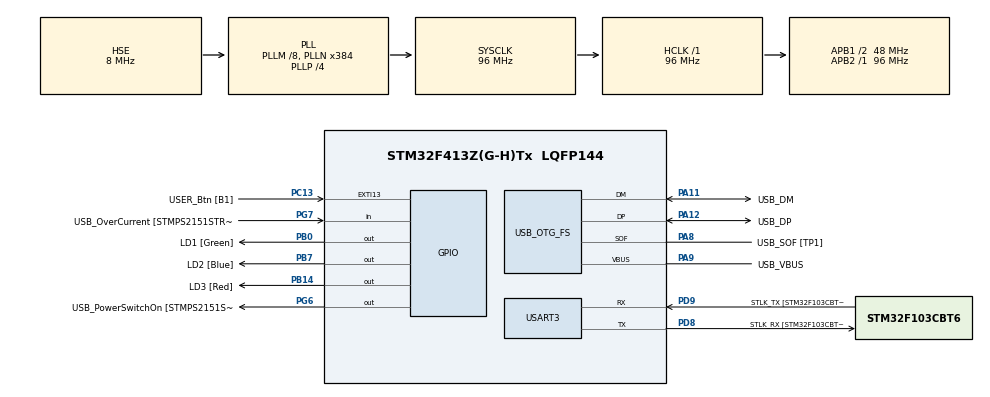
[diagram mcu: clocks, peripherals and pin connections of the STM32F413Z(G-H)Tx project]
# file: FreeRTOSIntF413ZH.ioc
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Mcu.Family=STM32F4
Mcu.Name=STM32F413Z(G-H)Tx
Mcu.Package=LQFP144
NVIC.PriorityGroup=NVIC_PRIORITYGROUP_4
NVIC.TIM6_DAC_IRQn=true\:15\:0\:false\:false\:true\:false\:true\:true
NVIC.TimeBase=TIM6_DAC_IRQn
NVIC.TimeBaseIP=TIM6
PA10.GPIO_Label=USB_ID
PA10.Signal=USB_OTG_FS_ID
PA11.GPIO_Label=USB_DM
PA11.Mode=Device_Only
PA11.Signal=USB_OTG_FS_DM
PA12.GPIO_Label=USB_DP
PA12.Mode=Device_Only
PA12.Signal=USB_OTG_FS_DP
PA13.GPIO_Label=TMS
PA13.Mode=Trace_Asynchronous_SW
PA13.Signal=SYS_JTMS-SWDIO
PA14.GPIO_Label=TCK
PA14.Mode=Trace_Asynchronous_SW
PA14.Signal=SYS_JTCK-SWCLK
PA8.GPIO_Label=USB_SOF [TP1]
PA8.Mode=Activate_SOF_FS
PA8.Signal=USB_OTG_FS_SOF
PA9.GPIO_Label=USB_VBUS
PA9.Mode=Activate_VBUS
PA9.Signal=USB_OTG_FS_VBUS
PB0.GPIO_Label=LD1 [Green]
PB0.Signal=GPIO_Output
PB14.GPIO_Label=LD3 [Red]
PB14.Signal=GPIO_Output
PB3.GPIO_Label=SWO
PB3.Mode=Trace_Asynchronous_SW
PB3.Signal=SYS_JTDO-SWO
PB7.GPIO_Label=LD2 [Blue]
PB7.Signal=GPIO_Output
PC13.GPIO_Label=USER_Btn [B1]
PC13.Signal=GPXTI13
PC14-OSC32_IN.Mode=LSE-External-Oscillator
PC14-OSC32_IN.Signal=RCC_OSC32_IN
PC15-OSC32_OUT.Mode=LSE-External-Oscillator
PC15-OSC32_OUT.Signal=RCC_OSC32_OUT
PD8.GPIO_Label=STLK_RX [STM32F103CBT6_PA3]
PD8.Mode=Asynchronous
PD8.Signal=USART3_TX
PD9.GPIO_Label=STLK_TX [STM32F103CBT6_PA2]
PD9.Mode=Asynchronous
PD9.Signal=USART3_RX
PG6.GPIO_Label=USB_PowerSwitchOn [STMPS2151STR_EN]
PG6.Signal=GPIO_Output
PG7.GPIO_Label=USB_OverCurrent [STMPS2151STR_FAULT]
PG7.Signal=GPIO_Input
PH0\ -\ OSC_IN.GPIO_Label=MCO
PH0\ -\ OSC_IN.Mode=HSE-External-Clock-Source
PH0\ -\ OSC_IN.Signal=RCC_OSC_IN
PH1\ -\ OSC_OUT.Mode=HSE-External-Clock-Source
PH1\ -\ OSC_OUT.Signal=RCC_OSC_OUT
ProjectManager.HeapSize=0x200
ProjectManager.StackSize=0x400
ProjectManager.TargetToolchain=STM32CubeIDE
RCC.48MHZClocksFreq_Value=24000000
RCC.AHBFreq_Value=96000000
RCC.APB1CLKDivider=RCC_HCLK_DIV2
RCC.APB1Freq_Value=48000000
RCC.APB1TimFreq_Value=96000000
RCC.APB2Freq_Value=96000000
RCC.APB2TimFreq_Value=96000000
RCC.CortexFreq_Value=96000000
RCC.HCLKFreq_Value=96000000
RCC.HSE_VALUE=8000000
RCC.HSI_VALUE=16000000
RCC.PLLM=8
RCC.PLLMUL=RCC_PLL_MUL9
RCC.PLLN=384
RCC.PLLP=RCC_PLLP_DIV4
RCC.PLLQ=8
RCC.PRESCALERUSB=RCC_USBCLKSOURCE_PLL_DIV1_5
RCC.SYSCLKFreq_VALUE=96000000
RCC.SYSCLKSource=RCC_SYSCLKSOURCE_PLLCLK
RCC.SYSCLKSourceVirtual=RCC_SYSCLKSOURCE_PLLCLK
RCC.USBFreq_Value=48000000
RCC.VCOOutputFreq_Value=384000000
USART3.VirtualMode=VM_ASYNC
USB_OTG_FS.VirtualMode=Device_Only
VP_SYS_VS_tim6.Mode=TIM6
board=NUCLEO-F413ZH

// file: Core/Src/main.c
/* USER CODE BEGIN Header */
/**
  ******************************************************************************
  * @file           : main.c
  * @brief          : Main program body
  ******************************************************************************
  * @attention
  *
  * Copyright (c) 2023 STMicroelectronics.
  * All rights reserved.
  *
  * This software is licensed under terms that can be found in the LICENSE file
  * in the root directory of this software component.
  * If no LICENSE file comes with this software, it is provided AS-IS.
  *
  ******************************************************************************
  */
/* USER CODE END Header */
#include "main.h"

/* USER CODE BEGIN Includes */
#include "FreeRTOS.h"
#include "task.h"
#include <stdio.h>
/* USER CODE END Includes */

UART_HandleTypeDef huart3;

PCD_HandleTypeDef hpcd_USB_OTG_FS;

/* USER CODE BEGIN PV */
#define DWT_CTR  ((volatile uint32_t *) 0XE0001000)
/* USER CODE END PV */

void SystemClock_Config(void);
static void MX_GPIO_Init(void);
static void MX_USART3_UART_Init(void);
static void MX_USB_OTG_FS_PCD_Init(void);

/* USER CODE BEGIN 0 */

void canTaskFunction(void *pvParameters){

	for(;;){
		printf("CAN-TASK\n");
	}
}

void spiTaskFunction(void *pvParameters){

	for(;;){
		printf("SPI-Task!\n");
	}
}

/* USER CODE END 0 */

int main(void)
{

  /* MCU Configuration--------------------------------------------------------*/

  /* Reset of all peripherals, Initializes the Flash interface and the Systick. */
  HAL_Init();

  /* Configure the system clock */
  SystemClock_Config();

  /* USER CODE BEGIN SysInit */
  *DWT_CTR |= ( 1 << 0 );
  SEGGER_SYSVIEW_Conf();
  SEGGER_SYSVIEW_Start();

  TaskHandle_t taskHandleT;
  BaseType_t status = xTaskCreate(canTaskFunction, "CAN_HANDLER", 100,"HI", 3, &taskHandleT);
  configASSERT( status == pdPASS);

  TaskHandle_t taskHandleM;
  status = xTaskCreate(spiTaskFunction, "SPI_HANDLER", 100,"HI", 3, &taskHandleM);
  configASSERT( status == pdPASS);
  vTaskStartScheduler();

  /* USER CODE END SysInit */

  /* Initialize all configured peripherals */
  MX_GPIO_Init();
  MX_USART3_UART_Init();
  MX_USB_OTG_FS_PCD_Init();

  /* Infinite loop */
  while (1)
  {

  }
}

void SystemClock_Config(void)
{
  RCC_OscInitTypeDef RCC_OscInitStruct = {0};
  RCC_ClkInitTypeDef RCC_ClkInitStruct = {0};

  /** Configure the main internal regulator output voltage
  */
  __HAL_RCC_PWR_CLK_ENABLE();
  __HAL_PWR_VOLTAGESCALING_CONFIG(PWR_REGULATOR_VOLTAGE_SCALE1);

  /** Initializes the RCC Oscillators according to the specified parameters
  * in the RCC_OscInitTypeDef structure.
  */
  RCC_OscInitStruct.OscillatorType = RCC_OSCILLATORTYPE_HSE;
  RCC_OscInitStruct.HSEState = RCC_HSE_BYPASS;
  RCC_OscInitStruct.PLL.PLLState = RCC_PLL_ON;
  RCC_OscInitStruct.PLL.PLLSource = RCC_PLLSOURCE_HSE;
  RCC_OscInitStruct.PLL.PLLM = 8;
  RCC_OscInitStruct.PLL.PLLN = 384;
  RCC_OscInitStruct.PLL.PLLP = RCC_PLLP_DIV4;
  RCC_OscInitStruct.PLL.PLLQ = 8;
  RCC_OscInitStruct.PLL.PLLR = 2;
  if (HAL_RCC_OscConfig(&RCC_OscInitStruct) != HAL_OK)
  {
    Error_Handler();
  }

  /** Initializes the CPU, AHB and APB buses clocks
  */
  RCC_ClkInitStruct.ClockType = RCC_CLOCKTYPE_HCLK|RCC_CLOCKTYPE_SYSCLK
                              |RCC_CLOCKTYPE_PCLK1|RCC_CLOCKTYPE_PCLK2;
  RCC_ClkInitStruct.SYSCLKSource = RCC_SYSCLKSOURCE_PLLCLK;
  RCC_ClkInitStruct.AHBCLKDivider = RCC_SYSCLK_DIV1;
  RCC_ClkInitStruct.APB1CLKDivider = RCC_HCLK_DIV2;
  RCC_ClkInitStruct.APB2CLKDivider = RCC_HCLK_DIV1;

  if (HAL_RCC_ClockConfig(&RCC_ClkInitStruct, FLASH_LATENCY_3) != HAL_OK)
  {
    Error_Handler();
  }
}

static void MX_USART3_UART_Init(void)
{

  huart3.Instance = USART3;
  huart3.Init.BaudRate = 115200;
  huart3.Init.WordLength = UART_WORDLENGTH_8B;
  huart3.Init.StopBits = UART_STOPBITS_1;
  huart3.Init.Parity = UART_PARITY_NONE;
  huart3.Init.Mode = UART_MODE_TX_RX;
  huart3.Init.HwFlowCtl = UART_HWCONTROL_NONE;
  huart3.Init.OverSampling = UART_OVERSAMPLING_16;
  if (HAL_UART_Init(&huart3) != HAL_OK)
  {
    Error_Handler();
  }

}

static void MX_USB_OTG_FS_PCD_Init(void)
{

  hpcd_USB_OTG_FS.Instance = USB_OTG_FS;
  hpcd_USB_OTG_FS.Init.dev_endpoints = 6;
  hpcd_USB_OTG_FS.Init.speed = PCD_SPEED_FULL;
  hpcd_USB_OTG_FS.Init.dma_enable = DISABLE;
  hpcd_USB_OTG_FS.Init.phy_itface = PCD_PHY_EMBEDDED;
  hpcd_USB_OTG_FS.Init.Sof_enable = ENABLE;
  hpcd_USB_OTG_FS.Init.low_power_enable = DISABLE;
  hpcd_USB_OTG_FS.Init.lpm_enable = DISABLE;
  hpcd_USB_OTG_FS.Init.battery_charging_enable = ENABLE;
  hpcd_USB_OTG_FS.Init.vbus_sensing_enable = ENABLE;
  hpcd_USB_OTG_FS.Init.use_dedicated_ep1 = DISABLE;
  if (HAL_PCD_Init(&hpcd_USB_OTG_FS) != HAL_OK)
  {
    Error_Handler();
  }

}

static void MX_GPIO_Init(void)
{
  GPIO_InitTypeDef GPIO_InitStruct = {0};

  /* GPIO Ports Clock Enable */
  __HAL_RCC_GPIOC_CLK_ENABLE();
  __HAL_RCC_GPIOH_CLK_ENABLE();
  __HAL_RCC_GPIOB_CLK_ENABLE();
  __HAL_RCC_GPIOD_CLK_ENABLE();
  __HAL_RCC_GPIOG_CLK_ENABLE();
  __HAL_RCC_GPIOA_CLK_ENABLE();

  /*Configure GPIO pin Output Level */
  HAL_GPIO_WritePin(GPIOB, LD1_Pin|LD3_Pin|LD2_Pin, GPIO_PIN_RESET);

  /*Configure GPIO pin Output Level */
  HAL_GPIO_WritePin(USB_PowerSwitchOn_GPIO_Port, USB_PowerSwitchOn_Pin, GPIO_PIN_RESET);

  /*Configure GPIO pin : USER_Btn_Pin */
  GPIO_InitStruct.Pin = USER_Btn_Pin;
  GPIO_InitStruct.Mode = GPIO_MODE_IT_RISING;
  GPIO_InitStruct.Pull = GPIO_NOPULL;
  HAL_GPIO_Init(USER_Btn_GPIO_Port, &GPIO_InitStruct);

  /*Configure GPIO pins : LD1_Pin LD3_Pin LD2_Pin */
  GPIO_InitStruct.Pin = LD1_Pin|LD3_Pin|LD2_Pin;
  GPIO_InitStruct.Mode = GPIO_MODE_OUTPUT_PP;
  GPIO_InitStruct.Pull = GPIO_NOPULL;
  GPIO_InitStruct.Speed = GPIO_SPEED_FREQ_LOW;
  HAL_GPIO_Init(GPIOB, &GPIO_InitStruct);

  /*Configure GPIO pin : USB_PowerSwitchOn_Pin */
  GPIO_InitStruct.Pin = USB_PowerSwitchOn_Pin;
  GPIO_InitStruct.Mode = GPIO_MODE_OUTPUT_PP;
  GPIO_InitStruct.Pull = GPIO_NOPULL;
  GPIO_InitStruct.Speed = GPIO_SPEED_FREQ_LOW;
  HAL_GPIO_Init(USB_PowerSwitchOn_GPIO_Port, &GPIO_InitStruct);

  /*Configure GPIO pin : USB_OverCurrent_Pin */
  GPIO_InitStruct.Pin = USB_OverCurrent_Pin;
  GPIO_InitStruct.Mode = GPIO_MODE_INPUT;
  GPIO_InitStruct.Pull = GPIO_NOPULL;
  HAL_GPIO_Init(USB_OverCurrent_GPIO_Port, &GPIO_InitStruct);

}

void HAL_TIM_PeriodElapsedCallback(TIM_HandleTypeDef *htim)
{
  if (htim->Instance == TIM6) {
    HAL_IncTick();
  }
}

void Error_Handler(void)
{
  __disable_irq();
  while (1)
  {
  }
}
